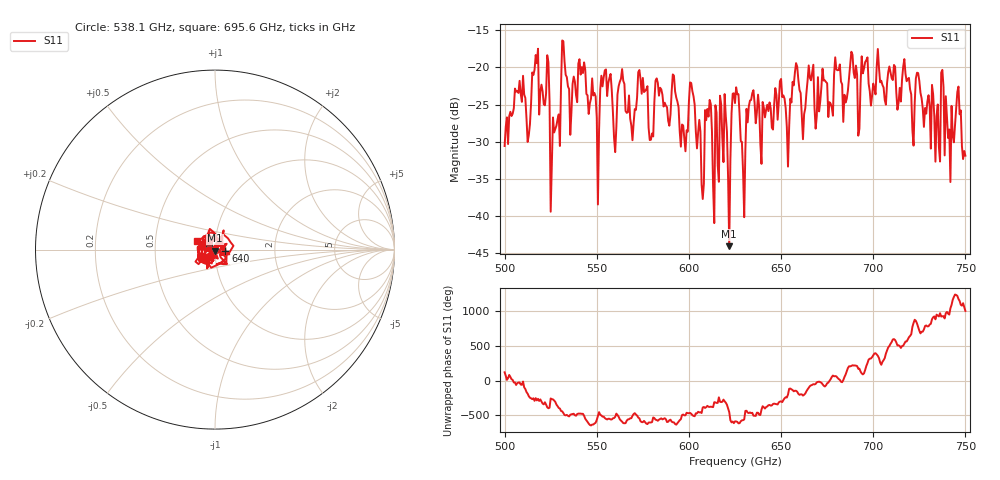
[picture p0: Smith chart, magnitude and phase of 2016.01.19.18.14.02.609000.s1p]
!Created with skrf (http://scikit-rf.org).
# GHz S RI R 50.0
!freq ReS11 ImS11
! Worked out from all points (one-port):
!   401 points, 500 GHz to 750 GHz, reference 50 ohm
!   lowest |S11| = -44.1 dB at 621.9 GHz (marker M1), VSWR 1.01, Z = 50 - j0.621 ohm
!   |S11| at or under -10 dB: start of sweep to end of sweep
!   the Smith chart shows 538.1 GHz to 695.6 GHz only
!   S11 on the Smith chart (normalised r, x): 538.1 GHz: 0.88, -0.10; 640 GHz: 1.12, -0.02; 695.6 GHz: 0.82, +0.08
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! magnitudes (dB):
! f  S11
! 500 GHz  -30.6
! 506.9 GHz  -23.2
! 513.1 GHz  -29.2
! 516.9 GHz  -18.3
! 526.2 GHz  -26.7
! 531.2 GHz  -16.3
! 538.1 GHz  -21.9
! 550 GHz  -26.8
! 562.5 GHz  -21.9
! 569.4 GHz  -29.8
! 573.8 GHz  -21.6
! 579.4 GHz  -29.8
! 583.1 GHz  -22.1
! 593.8 GHz  -24.6
! 606.9 GHz  -35.8
! 618.1 GHz  -29.5
! 621.9 GHz  -44.1
! 625 GHz  -24.8
! 629.4 GHz  -34.1
! 633.8 GHz  -24.4
! 640 GHz  -24.7
! 656.2 GHz  -21.9
! 687.5 GHz  -19.6
! 695.6 GHz  -19.3
! 718.8 GHz  -21.5
! 735 GHz  -25.0
! 746.2 GHz  -22.6
! 750 GHz  -31.9
